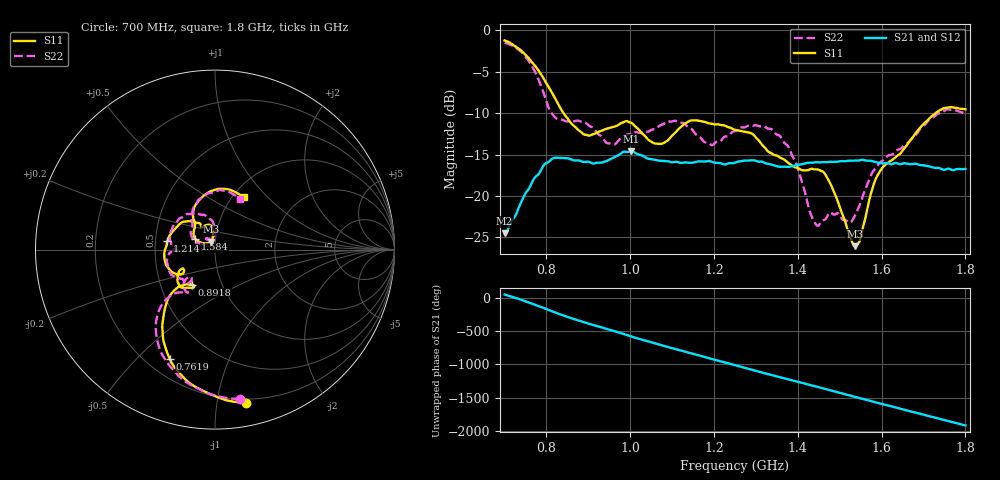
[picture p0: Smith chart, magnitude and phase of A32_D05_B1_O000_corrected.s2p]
! Created with skrf 1.9.0 (http://scikit-rf.org).
# Hz S RI R 50.0
!freq ReS11 ImS11 ReS21 ImS21 ReS12 ImS12 ReS22 ImS22
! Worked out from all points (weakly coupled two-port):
!   1601 points, 700 MHz to 1.8 GHz, reference 50 ohm
!   highest |S21| = -14.60 dB at 1.002 GHz (marker M1); lowest = -24.5 dB at 700 MHz (marker M2)
!   lowest |S11| = -26.1 dB at 1.536 GHz (marker M3), VSWR 1.10, Z = 47.6 + j4.19 ohm
!   |S11| at or under -10 dB: 840.5 MHz to 1.729 GHz (888 MHz wide, 69.1 % of centre)
!   |S22| runs from -23.6 to -1.5 dB; largest |S21 - S12| = 0.0034
!   S11 on the Smith chart (normalised r, x): 700 MHz: 0.17, -1.21; 761.9 MHz: 0.29, -0.63; 891.8 MHz: 0.72, -0.30; 1.214 GHz: 0.58, +0.06; 1.584 GHz: 0.80, +0.09; 1.8 GHz: 1.12, +0.74
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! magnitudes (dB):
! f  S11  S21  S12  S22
! 700 MHz  -1.2  -24.5  -24.3  -1.5
! 761.9 MHz  -3.6  -18.8  -18.7  -4.0
! 817.6 MHz  -7.9  -15.4  -15.5  -10.4
! 883.6 MHz  -12.3  -15.8  -15.7  -11.0
! 891.8 MHz  -12.6  -15.9  -15.9  -11.1
! 947.5 MHz  -11.8  -15.7  -15.7  -13.7
! 1.002 GHz  -11.2  -14.6  -14.7  -12.6
! 1.067 GHz  -13.7  -15.7  -15.7  -11.6
! 1.143 GHz  -10.9  -16.0  -16.0  -11.8
! 1.214 GHz  -11.4  -16.0  -16.0  -13.4
! 1.25 GHz  -12.0  -16.0  -15.9  -12.2
! 1.358 GHz  -15.4  -16.5  -16.4  -12.8
! 1.396 GHz  -16.6  -16.3  -16.3  -16.0
! 1.434 GHz  -16.7  -16.0  -16.0  -22.5
! 1.448 GHz  -16.8  -15.9  -15.9  -23.6
! 1.471 GHz  -17.9  -15.9  -15.9  -22.4
! 1.536 GHz  -26.1  -15.7  -15.7  -22.4
! 1.549 GHz  -25.2  -15.7  -15.7  -20.9
! 1.584 GHz  -18.2  -15.9  -15.9  -16.7
! 1.617 GHz  -15.9  -16.1  -16.0  -15.1
! 1.733 GHz  -9.8  -16.6  -16.7  -10.1
! 1.8 GHz  -9.5  -16.7  -16.7  -10.0
